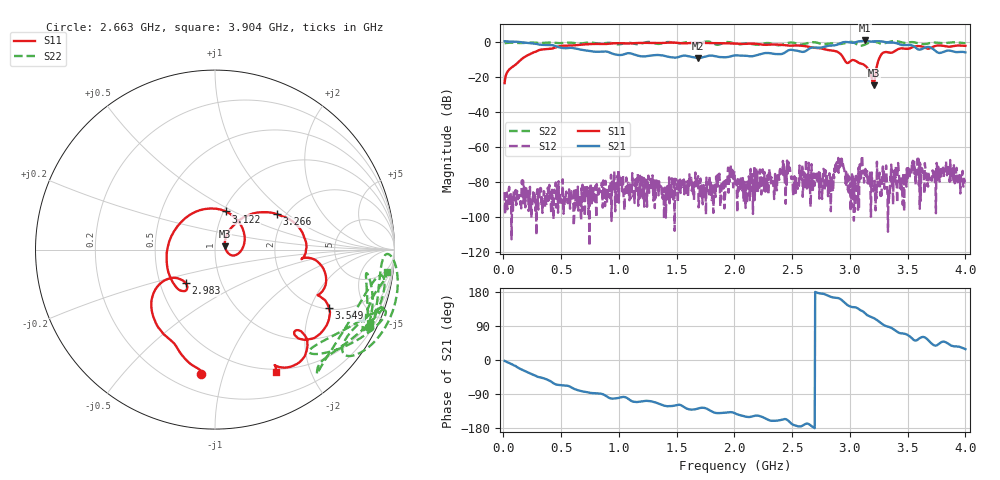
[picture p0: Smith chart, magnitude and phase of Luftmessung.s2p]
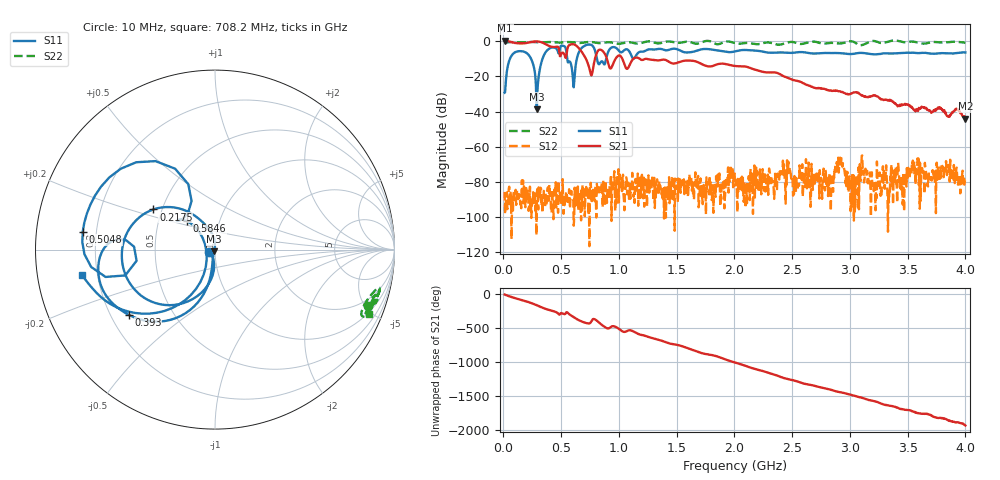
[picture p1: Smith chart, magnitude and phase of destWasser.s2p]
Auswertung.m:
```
clc;
clear all;
close all;



MUT_Luft = MUT(sparameters('Luftmessung.s2p'));
MUT_destWasser = MUT(sparameters('destWasser.s2p'));
MUT_kochsalzLoesung = MUT(sparameters('kochsalzLösung.s2p'));



% =========================================================
%  3-Punkt-Kalibrierung – Rational Function Model (RFM)
%  Referenzen: Luft, Wasser, Kochsalzlösung
% =========================================================

%% --- 1. Frequenzvektor (in Hz) ---

f= MUT_Luft.sobj_struct.Frequencies;

%% --- 2. Bekannte Referenz-Permittivitäten ---

% Luft: real, konstant
eps_Luft = ones(size(f));

% Wasser (Single-Debye, 25 °C)

% ToDo: das für Destilliertes Wasser herausfinden.

eps_s_w   = 78.4;      % statische Permittivität
eps_inf_w =  5.2;      % Hochfrequenz-Grenzwert
tau_w     = 9.4e-12;   % Relaxationszeit [s]
eps_water = eps_inf_w + (eps_s_w - eps_inf_w) ./ (1 + 1j*2*pi*f*tau_w);

% Kochsalzlösung (0.9 % NaCl, 25 °C)
% → Debye-Term + ionischer Leitfähigkeitsterm
eps_s_s   = 76.5;
eps_inf_s =  4.9;
tau_s     = 9.0e-12;
sigma_s   =  1.5;      % ionische Leitfähigkeit [S/m] — abhängig von Konzentration!
eps0      = 8.854e-12;
eps_kochsalzLoesung = eps_inf_s + (eps_s_s - eps_inf_s) ./ (1 + 1j*2*pi*f*tau_s) ...
    - 1j * sigma_s ./ (2*pi*f*eps0);

%% --- 3. Gemessene S11 der Referenzen (komplex) ---
% S11_air, S11_water, S11_saline: Spaltenvektoren über f
% → aus deinem Import bereits vorhanden

S11_Luft = MUT_Luft.S11_param;
S11_destWasser = MUT_destWasser.S11_param;
S11_kochsalzLoesung = MUT_kochsalzLoesung.S11_param;


%% --- 4. Kalibrierkoeffizienten A, B, D bei jeder Frequenz lösen ---
N = length(f);
A_cal = zeros(N,1);
B_cal = zeros(N,1);
D_cal = zeros(N,1);

for k = 1:N
    % Komplexe Logarithmen der Referenz-S11
    L1 = log(S11_Luft(k));
    L2 = log(S11_destWasser(k));
    L3 = log(S11_kochsalzLoesung(k));

    e1 = eps_Luft(k);
    e2 = eps_water(k);
    e3 = eps_kochsalzLoesung(k);

    % Lineares System:  M * [A; B; D] = rhs
    %   Herleitung: eps_i*(L_i + D) = A*L_i + B
    %   → A*L_i - eps_i*D + B = eps_i*L_i
    M = [ L1,  1,  -e1 ;
        L2,  1,  -e2 ;
        L3,  1,  -e3 ];

    rhs = [ e1*L1 ; e2*L2 ; e3*L3 ];

    % Konditionszahl prüfen (optional, aber empfehlenswert)
    if cond(M) > 1e10
        warning('Schlecht konditioniertes System bei f = %.3f GHz', f(k)/1e9);
    end

    x = M \ rhs;
    A_cal(k) = x(1);
    B_cal(k) = x(2);
    D_cal(k) = x(3);
end

%% --- 5. Permittivität der Probe berechnen ---
% S11_DUT: komplexer S11-Vektor der unbekannten Probe

MUT_Kongstrong_mitZucker = MUT(sparameters('KongStrong_mitZucker.s2p'))
MUT_Kongstrong_ohneZucker = MUT(sparameters('KongStrong_ohneZucker.s2p'))
MUT_Kongstrong_mitGeschmack = MUT(sparameters('KongStrong_mitGeschmack.s2p'))

MUT_Spiritus = MUT(sparameters('Spiritus.s2p'))


S11_Kongstrong_mitZucker = MUT_Kongstrong_mitZucker.S11_param;
S11_Kongstrong_ohneZucker = MUT_Kongstrong_ohneZucker.S11_param;
S11_Kongstrong_mitGeschmack = MUT_Kongstrong_mitGeschmack.S11_param;
S11_Spiritus = MUT_Spiritus.S11_param;
%Todo: Funktion schreiben, die MUT

eps_Kongstrong_mitZucker = eps_from_MUT(A_cal,B_cal,D_cal, ... 
                           S11_Kongstrong_mitZucker,N)
eps_Kongstrong_ohneZucker = eps_from_MUT(A_cal,B_cal,D_cal, ... 
    S11_Kongstrong_ohneZucker,N)
eps_Kongstrong_mitGeschmack = eps_from_MUT(A_cal,B_cal,D_cal, ... 
    S11_Kongstrong_mitGeschmack,N)
eps_Spiritus = eps_from_MUT(A_cal,B_cal,D_cal, ... 
    S11_Spiritus,N)

eps_array = {

    eps_Kongstrong_ohneZucker, 'eps Kongstrong without Sugar' , 'g'
    eps_Kongstrong_mitZucker,  'eps Kongstrong with Sugar' , 'r'
    eps_Kongstrong_mitGeschmack, 'eps Kongstrong with Sugar & extra flavour' , 'y'
    eps_Spiritus,'eps Spiritus' , 'c'
   
}

MUT_array = {
    MUT_Luft,      'Air',        'b'
    MUT_destWasser,       'destilled Water',         'm'
    MUT_kochsalzLoesung ,    'NaCl 0.9% saline solution',      'w'
    MUT_Kongstrong_ohneZucker,      'Kongstrong without Sugar',        'g'
    MUT_Kongstrong_mitZucker,       'Kongstrong with Sugar ',         'r'
    MUT_Kongstrong_mitGeschmack,    'Kongstrong with Sugar & extra flavour',      'y'
    %MUT_Spiritus,'Spiritus' , 'c'
    };


% %% --- 6. Plotten ---
% figure; hold on;
% 
% for i = 1:size(eps_array,1) 
% 
% subplot(2,1,1)
% plot(f/1e9, real(eps_array{i,1}), ...
%     'Color', eps_array{i,3}, ...
%     'DisplayName', eps_array{i,2},...
%     LineWidth=1.5); grid on
% 
% 
% xlabel('Frequenz (GHz)'); ylabel("\epsilon_r'")
% title('Realteil der Permittivität (Probe)')
% 
% subplot(2,1,2)
% plot(f/1e9, -imag(eps_array{i,1}), ...
%     'Color', eps_array{i,3}, ...
%     'DisplayName', eps_array{i,2},...
%     LineWidth=1.5); grid on
% 
% xlabel('Frequenz (GHz)'); ylabel("\epsilon_r''")
% title('Imaginärteil / Verlustfaktor')
% legend show
% end

%% --- 6. Plotten ---
figure;

% Erzeuge beide Subplots einmal und aktiviere hold für jede Achse
ax1 = subplot(2,1,1);
hold(ax1, 'on');
xlabel('Frequency (GHz)'); ylabel("\epsilon_r'")
title('Real part of permittivity (sample)')
grid(ax1, 'on');

ax2 = subplot(2,1,2);
hold(ax2, 'on');
xlabel('Frequency (GHz)'); ylabel("\epsilon_r''")
title('Imaginary part / loss factor')
grid(ax2, 'on');

% Plot in der Schleife (verwende geschweifte Klammern für Zellinhalt)
for i = 1:size(eps_array,1)
    plot(ax1, f/1e9, real(eps_array{i,1}), ...
        'Color', eps_array{i,3}, ...
        'DisplayName', eps_array{i,2}, ...
        'LineStyle','--',...
        'LineWidth', 1);

    plot(ax2, f/1e9, -imag(eps_array{i,1}), ...
        'Color', eps_array{i,3}, ...
        'DisplayName', eps_array{i,2}, ...
        'LineStyle','--',...
        'LineWidth', 1);
end

% Legende einmalig hinzufügen
legend(ax1, 'show', 'Location', 'best');
legend(ax2, 'show', 'Location', 'best');


figure;
% ===== Subplot 1: |S11| =====
ax1 = subplot(2,2,1);
hold(ax1,'on');
title('|S_{11}| in dB');
xlabel('Frequency (GHz)');
ylabel('|S_{11}| (dB)');
grid on;

% ===== Subplot 2: Phase S11 =====
ax2 = subplot(2,2,2);
hold(ax2,'on');
title('Phase S_{11}');
xlabel('Frequency (GHz)');
ylabel('Phase (°)');
grid on;

% ===== Subplot 3: |S21| =====
ax3 = subplot(2,2,3);
hold(ax3,'on');
title('|S_{21}| in dB');
xlabel('Frequency (GHz)');
ylabel('|S_{21}| (dB)');
grid on;

% ===== Subplot 4: Phase S21 =====
ax4 = subplot(2,2,4);
hold(ax4,'on');
title('Phase S_{21}');
xlabel('Frequency (GHz)');
ylabel('Phase (°)');
grid on;


for i = 1:size(MUT_array,1)

    MUT_obj = MUT_array{i,1};
    label   = MUT_array{i,2};
    color   = MUT_array{i,3};

    % --- S-Parameter ---
    S11 = MUT_obj.S11_param;

    % Falls du S21 noch nicht im MUT hast:
    % -> dann aus sobj_struct ziehen:
    S21 = squeeze(MUT_obj.sobj_struct.Parameters(2,1,:));

    % --- Betrag ---
    S11_dB = 20*log10(abs(S11));
    S21_dB = 20*log10(abs(S21));

    % --- Phase (unwrap empfohlen!) ---
    S11_phase = unwrap(angle(S11)) * 180/pi;
    S21_phase = unwrap(angle(S21)) * 180/pi;

    % --- Plot ---
    plot(ax1, f/1e9, S11_dB, ...
        'Color', color, 'DisplayName', label, 'LineWidth', 1.5);

    plot(ax2, f/1e9, S11_phase, ...
        'Color', color, 'DisplayName', label, 'LineWidth', 1.5);

    plot(ax3, f/1e9, S21_dB, ...
        'Color', color, 'DisplayName', label, 'LineWidth', 1.5);

    plot(ax4, f/1e9, S21_phase, ...
        'Color', color, 'DisplayName', label, 'LineWidth', 1.5);
end

legend(ax1,'show');
legend(ax2,'show');
legend(ax3,'show');
legend(ax4,'show');
```
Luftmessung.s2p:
!  26/06/2026  14:16:24
! Ref Plane: 0.000 mm
# MHZ S MA R  50
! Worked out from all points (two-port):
!   1001 points, 10 MHz to 4 GHz, reference 50 ohm
!   highest |S21| = 0.72 dB at 3.13 GHz (marker M1); lowest = -9.2 dB at 1.682 GHz (marker M2)
!   |S21| within 3 dB of the highest: start of sweep to 439.6 MHz; 2.818 GHz to 3.545 GHz (727.3 MHz wide, 22.9 % of centre)
!   lowest |S11| = -24.7 dB at 3.206 GHz (marker M3), VSWR 1.12, Z = 55.8 + j2.11 ohm
!   |S11| at or under -10 dB: start of sweep to 156 MHz; 2.951 GHz to 3.251 GHz (300.2 MHz wide, 9.68 % of centre)
!   |S22| runs from -2.3 to 0.4 dB; largest |S21 - S12| = 1.1
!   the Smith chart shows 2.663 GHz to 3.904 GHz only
!   S11 on the Smith chart (normalised r, x): 2.663 GHz: 0.31, -0.84; 2.983 GHz: 0.68, -0.27; 3.122 GHz: 1.02, +0.46; 3.266 GHz: 1.81, +0.85; 3.549 GHz: 2.06, -2.72; 3.904 GHz: 0.47, -1.51
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10  0.06605 81.7  1.03 -2.4  5.228e-05 -42.4  0.9101 -20.1
1681.81  0.9341 -35.9  0.3457 -128.5  0.0001296 -138.5  0.8513 -34.0
2005  0.8873 -52.9  0.4087 -140.7  7.912e-05 45.0  0.8847 -17.0
2663.35  0.6953 -96.5  0.6712 -173.4  5.364e-05 -111.0  0.9576 -26.6
2982.55  0.2483 -131.0  0.9716 144.2  5.923e-05 79.1  0.9645 -23.7
3122.2  0.2211 74.2  1.083 125.9  9.698e-05 -135.1  0.8097 -45.9
3130.18  0.2109 59.7  1.087 123.5  0.0001587 -20.1  0.8315 -44.1
3205.99  0.05806 19.0  1.019 110.9  5.541e-05 12.2  1.015 -20.4
3265.84  0.3991 29.6  1.029 98.4  4.048e-05 127.3  0.8883 -30.1
3549.13  0.7136 -27.1  0.7551 54.0  0.0002276 1.6  0.9701 -27.6
3904.24  0.7602 -63.5  0.5162 35.9  0.0001327 24.0  0.9651 -7.6
4000  0.7624 -70.0  0.4975 28.6  0.000113 17.1  0.9038 -9.6
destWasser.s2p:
!  26/06/2026  14:24:29
! Ref Plane: 0.000 mm
# MHZ S MA R  50
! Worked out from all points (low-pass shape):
!   1001 points, 10 MHz to 4 GHz, reference 50 ohm
!   highest |S21| = 0.32 dB at 13.99 MHz (marker M1); lowest = -44.0 dB at 4 GHz (marker M2)
!   |S21| within 3 dB of the highest: start of sweep to 394.2 MHz; 563.4 MHz to 633 MHz (69.59 MHz wide, 11.6 % of centre)
!   lowest |S11| = -38.7 dB at 289.3 MHz (marker M3), VSWR 1.02, Z = 49.5 - j1.04 ohm
!   |S11| at or under -10 dB: 239.2 MHz to 338.2 MHz (99.06 MHz wide, 34.3 % of centre); 551.9 MHz to 635.3 MHz (83.38 MHz wide, 14 % of centre); 809.5 MHz to 889.7 MHz (80.18 MHz wide, 9.44 % of centre)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
!   |S22| runs from -2.3 to 0.4 dB; largest |S21 - S12| = 1
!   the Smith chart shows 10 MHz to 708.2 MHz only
!   S11 on the Smith chart (normalised r, x): 10 MHz: 0.94, -0.02; 217.5 MHz: 0.45, +0.24; 393 MHz: 0.27, -0.31; 504.8 MHz: 0.15, +0.06; 584.6 MHz: 0.70, +0.23; 708.2 MHz: 0.14, -0.09
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10  0.03441 -157.5  1.034 -7.2  5.228e-05 -42.4  0.9101 -20.1
13.99  0.03532 -121.6  1.038 -9.9  1.203e-05 159.0  0.9132 -19.7
77.83  0.4179 -132.5  0.9239 -48.6  3.754e-05 -135.6  0.9405 -15.6
217.48  0.4099 146.9  0.9126 -119.0  1.515e-05 101.5  0.9443 -17.2
289.3  0.01161 -115.3  0.9866 -165.9  4.921e-05 -76.8  0.9315 -19.0
393.04  0.6025 -142.9  0.7379 125.8  3.441e-05 -0.8  0.9461 -14.1
504.76  0.7437 172.4  0.4562 77.3  3.212e-05 119.0  0.9164 -22.3
584.56  0.2236 134.8  0.8089 45.1  5.218e-05 65.8  0.9404 -13.0
708.25  0.754 -169.4  0.3444 -63.7  3.311e-05 119.0  0.9282 -22.8
2005  0.5111 122.2  0.1975 69.5  7.912e-05 45.0  0.8847 -17.0
4000  0.478 83.4  0.006296 -139.4  0.000113 17.1  0.9038 -9.6
